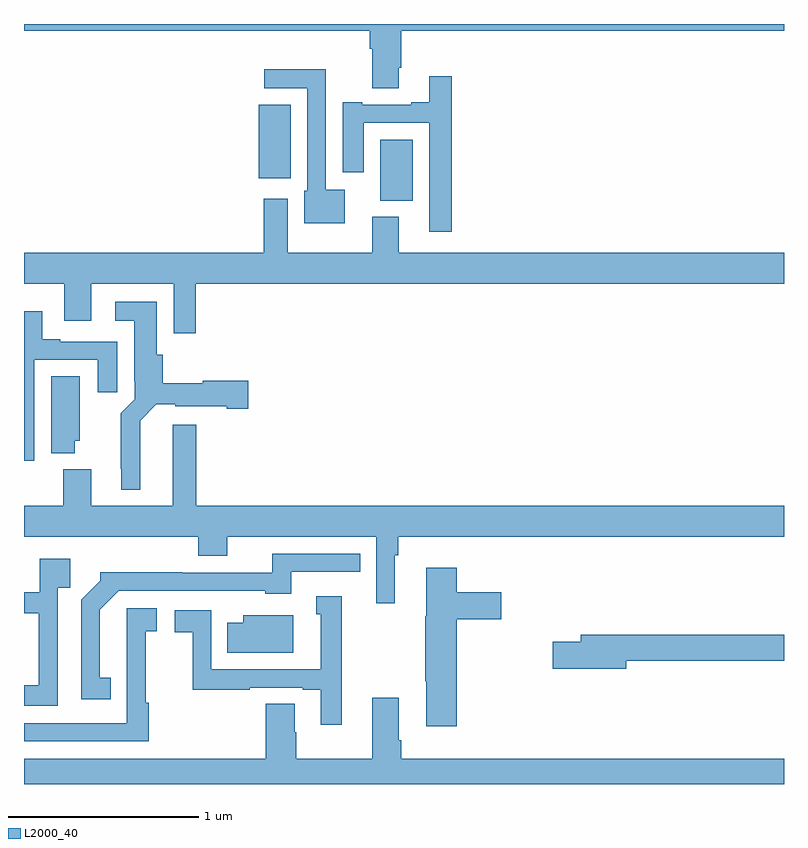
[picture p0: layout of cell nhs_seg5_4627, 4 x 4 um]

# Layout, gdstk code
import gdstk
lib = gdstk.Library(unit=1e-6, precision=1e-09)
def R(c, l, rs):  # rectangles x0, y0, x1, y1
    for r in rs: c.add(gdstk.rectangle(r[:2], r[2:], *l))
def P(c, l, *ps):  # polygons
    for p in ps: c.add(gdstk.Polygon(p, *l))
L2000_40 = (2000, 40)

nhs_seg5_4627 = lib.new_cell('nhs_seg5_4627')
R(nhs_seg5_4627, L2000_40, [(384.875,851.87,385.045,852.19), (384.236,851.987,384.403,852.373)])
P(nhs_seg5_4627, L2000_40, [(384.973,852.568),(384.986,852.568),(384.986,852.764),(387,852.764),(387,852.799),(383,852.799),(383,852.764),(384.821,852.764),(384.821,852.668),(384.833,852.668),(384.833,852.46),(384.973,852.46)],
  [(384.688,851.926),(384.588,851.926),(384.588,852.56),(384.264,852.56),(384.264,852.462),(384.492,852.462),(384.492,851.922),(384.476,851.922),(384.476,851.75),(384.688,851.75)],
  [(385.25,852.523),(385.133,852.523),(385.133,852.388),(385.037,852.388),(385.037,852.375),(384.781,852.375),(384.781,852.388),(384.677,852.388),(384.677,852.018),(384.787,852.018),(384.787,852.279),(385.134,852.279),(385.134,851.706),(385.25,851.706)],
  [(383.903,851.432),(387,851.432),(387,851.596),(384.973,851.596),(384.973,851.785),(384.833,851.785),(384.833,851.596),(384.388,851.596),(384.388,851.878),(384.263,851.878),(384.263,851.596),(383,851.596),(383,851.432),(383.213,851.432),(383.213,851.238),(383.353,851.238),(383.353,851.432),(383.787,851.432),(383.787,851.172),(383.903,851.172)],
  [(383.611,850.712),(383.697,850.799),(383.796,850.799),(383.796,850.787),(384.068,850.787),(384.068,850.775),(384.181,850.775),(384.181,850.922),(383.94,850.922),(383.94,850.909),(383.729,850.909),(383.729,851.058),(383.698,851.058),(383.698,851.338),(383.481,851.338),(383.481,851.237),(383.579,851.237),(383.579,850.918),(383.583,850.918),(383.583,850.824),(383.509,850.75),(383.509,850.459),(383.513,850.459),(383.513,850.349),(383.611,850.349)],
  [(383.053,851.031),(383.387,851.031),(383.387,850.86),(383.491,850.86),(383.491,851.127),(383.191,851.127),(383.191,851.14),(383.095,851.14),(383.095,851.287),(383,851.287),(383,850.5),(383.053,850.5)],
  [(383.266,850.605),(383.293,850.605),(383.293,850.946),(383.144,850.946),(383.144,850.541),(383.266,850.541)],
  [(383.783,850.69),(383.783,850.264),(383.353,850.264),(383.353,850.456),(383.206,850.456),(383.206,850.264),(383,850.264),(383,850.1),(383.918,850.1),(383.918,850.001),(384.07,850.001),(384.07,850.1),(384.855,850.1),(384.855,849.75),(384.952,849.75),(384.952,850.004),(384.971,850.004),(384.971,850.1),(387,850.1),(387,850.264),(383.906,850.264),(383.906,850.69)],
  [(383.456,849.359),(383.398,849.359),(383.398,849.715),(383.499,849.816),(384.27,849.816),(384.27,849.8),(384.406,849.8),(384.406,849.915),(384.77,849.915),(384.77,850.011),(384.307,850.011),(384.307,849.912),(383.834,849.912),(383.834,849.914),(383.4,849.914),(383.4,849.869),(383.301,849.77),(383.301,849.246),(383.456,849.246)],
  [(383.178,849.833),(383.243,849.833),(383.243,849.985),(383.082,849.985),(383.082,849.807),(383,849.807),(383,849.699),(383.077,849.699),(383.077,849.319),(383,849.319),(383,849.21),(383.178,849.21)],
  [(385.277,849.665),(385.513,849.665),(385.513,849.807),(385.277,849.807),(385.277,849.937),(385.118,849.937),(385.118,849.681),(385.111,849.681),(385.111,849.34),(385.118,849.34),(385.118,849.102),(385.277,849.102)],
  [(384.673,849.787),(384.539,849.787),(384.539,849.693),(384.563,849.693),(384.563,849.402),(383.985,849.402),(383.985,849.714),(383.793,849.714),(383.793,849.598),(383.887,849.598),(383.887,849.294),(384.188,849.294),(384.188,849.306),(384.467,849.306),(384.467,849.294),(384.563,849.294),(384.563,849.111),(384.673,849.111)],
  [(383.657,849.227),(383.64,849.227),(383.64,849.603),(383.698,849.603),(383.698,849.724),(383.54,849.724),(383.54,849.448),(383.541,849.448),(383.541,849.12),(383,849.12),(383,849.024),(383.657,849.024)],
  [(384.418,849.688),(384.155,849.688),(384.155,849.649),(384.07,849.649),(384.07,849.491),(384.418,849.491)],
  [(386.17,849.448),(387,849.448),(387,849.584),(385.931,849.584),(385.931,849.548),(385.782,849.548),(385.782,849.406),(386.17,849.406)],
  [(387,848.932),(384.986,848.932),(384.986,849.028),(384.973,849.028),(384.973,849.253),(384.833,849.253),(384.833,848.932),(384.432,848.932),(384.432,849.071),(384.424,849.071),(384.424,849.221),(384.272,849.221),(384.272,848.932),(383,848.932),(383,848.799),(387,848.799)])

lib.write_gds('nhs_seg5_4627.gds')
